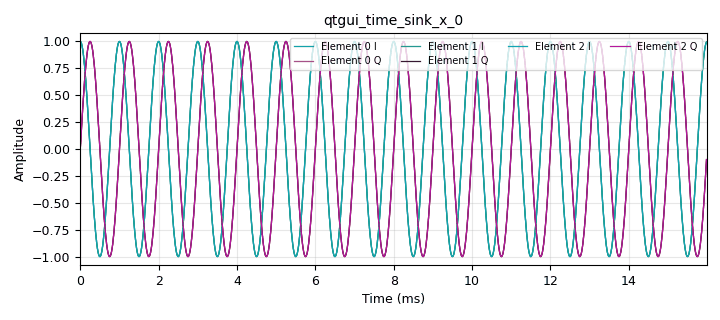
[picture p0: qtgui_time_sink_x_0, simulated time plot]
options:
  parameters:
    author: bimapancara
    generate_options: qt_gui
    id: NoisySimulation
    output_language: python
    title: Not titled yet
  states: {}

blocks:
- name: Noise
  id: variable_qtgui_range
  parameters:
    label: noise
    start: '0'
    step: '0.1'
    stop: '5'
    value: '0'
  states: {}
- name: array_space
  id: variable
  parameters:
    value: 0.5*wavelength
  states: {}
- name: c
  id: variable
  parameters:
    value: 3e8
  states: {}
- name: freq
  id: variable
  parameters:
    value: 2.4e9
  states: {}
- name: incident_wave
  id: variable_qtgui_range
  parameters:
    label: Angle of Incident
    start: '-90'
    step: '5'
    stop: '90'
    value: '0'
  states: {}
- name: phi0
  id: variable
  parameters:
    value: 0 * ((360 * array_space / wavelength) * np.sin(np.deg2rad(incident_wave)))
  states: {}
- name: phi1
  id: variable
  parameters:
    value: 1 * ((360 * array_space / wavelength) * np.sin(np.deg2rad(incident_wave)))
  states: {}
- name: phi2
  id: variable
  parameters:
    value: 2 * ((360 * array_space / wavelength) * np.sin(np.deg2rad(incident_wave)))
  states: {}
- name: samp_rate
  id: variable
  parameters:
    value: 64e3
  states: {}
- name: wavelength
  id: variable
  parameters:
    value: c/freq
  states: {}
- name: analog_noise_source_x_0
  id: analog_noise_source_x
  parameters:
    amp: Noise
    noise_type: analog.GR_GAUSSIAN
    seed: '0'
    type: complex
  states: {}
- name: analog_noise_source_x_0_0
  id: analog_noise_source_x
  parameters:
    amp: Noise
    noise_type: analog.GR_GAUSSIAN
    seed: '0'
    type: complex
  states: {}
- name: analog_noise_source_x_0_0_0
  id: analog_noise_source_x
  parameters:
    amp: Noise
    noise_type: analog.GR_GAUSSIAN
    seed: '0'
    type: complex
  states: {}
- name: analog_sig_source_x_0
  id: analog_sig_source_x
  parameters:
    amp: '1'
    freq: '1000'
    offset: '0'
    phase: '0'
    samp_rate: samp_rate
    type: complex
    waveform: analog.GR_COS_WAVE
  states: {}
- name: analog_sig_source_x_0_0
  id: analog_sig_source_x
  parameters:
    amp: '1'
    freq: '1000'
    offset: '0'
    phase: '0'
    samp_rate: samp_rate
    type: complex
    waveform: analog.GR_COS_WAVE
  states: {}
- name: analog_sig_source_x_0_0_0
  id: analog_sig_source_x
  parameters:
    amp: '1'
    freq: '1000'
    offset: '0'
    phase: '0'
    samp_rate: samp_rate
    type: complex
    waveform: analog.GR_COS_WAVE
  states: {}
- name: blocks_add_xx_0
  id: blocks_add_xx
  parameters:
    type: complex
  states: {}
- name: blocks_add_xx_0_0
  id: blocks_add_xx
  parameters:
    type: complex
  states: {}
- name: blocks_add_xx_0_1
  id: blocks_add_xx
  parameters:
    type: complex
  states: {}
- name: blocks_phase_shift_0
  id: blocks_phase_shift
  parameters:
    is_radians: 'False'
    shift: phi0
  states: {}
- name: blocks_phase_shift_0_0
  id: blocks_phase_shift
  parameters:
    is_radians: 'False'
    shift: phi1
  states: {}
- name: blocks_phase_shift_0_0_0
  id: blocks_phase_shift
  parameters:
    is_radians: 'False'
    shift: phi2
  states: {}
- name: blocks_throttle2_0
  id: blocks_throttle2
  parameters:
    samples_per_second: samp_rate
    type: complex
  states: {}
- name: blocks_throttle2_0_0
  id: blocks_throttle2
  parameters:
    samples_per_second: samp_rate
    type: complex
  states: {}
- name: blocks_throttle2_0_0_0
  id: blocks_throttle2
  parameters:
    samples_per_second: samp_rate
    type: complex
  states: {}
- name: import_0
  id: import
  parameters:
    imports: import numpy as np
  states: {}
- name: qtgui_time_sink_x_0
  id: qtgui_time_sink_x
  parameters:
    color2: green
    label1: Element 0 I
    label2: Element 0 Q
    label3: Element 1 I
    label4: Element 1 Q
    label5: Element 2 I
    label6: Element 2 Q
    nconnections: '3'
    size: '1024'
    srate: samp_rate
    type: complex
  states: {}
- name: zeromq_pub_sink_0
  id: zeromq_pub_sink
  parameters:
    address: tcp://127.0.0.1:49200
    timeout: '100'
    type: complex
  states: {}
- name: zeromq_pub_sink_1
  id: zeromq_pub_sink
  parameters:
    address: tcp://127.0.0.1:49202
    timeout: '100'
    type: complex
  states: {}
- name: zeromq_pub_sink_2
  id: zeromq_pub_sink
  parameters:
    address: tcp://127.0.0.1:49204
    timeout: '100'
    type: complex
  states: {}

connections:
- [analog_noise_source_x_0, '0', blocks_add_xx_0_0, '1']
- [analog_noise_source_x_0_0, '0', blocks_add_xx_0, '1']
- [analog_noise_source_x_0_0_0, '0', blocks_add_xx_0_1, '1']
- [analog_sig_source_x_0, '0', blocks_add_xx_0_0, '0']
- [analog_sig_source_x_0_0, '0', blocks_add_xx_0, '0']
- [analog_sig_source_x_0_0_0, '0', blocks_add_xx_0_1, '0']
- [blocks_add_xx_0, '0', blocks_phase_shift_0_0, '0']
- [blocks_add_xx_0_0, '0', blocks_phase_shift_0, '0']
- [blocks_add_xx_0_1, '0', blocks_phase_shift_0_0_0, '0']
- [blocks_phase_shift_0, '0', blocks_throttle2_0, '0']
- [blocks_phase_shift_0_0, '0', blocks_throttle2_0_0, '0']
- [blocks_phase_shift_0_0_0, '0', blocks_throttle2_0_0_0, '0']
- [blocks_throttle2_0, '0', qtgui_time_sink_x_0, '0']
- [blocks_throttle2_0, '0', zeromq_pub_sink_0, '0']
- [blocks_throttle2_0_0, '0', qtgui_time_sink_x_0, '1']
- [blocks_throttle2_0_0, '0', zeromq_pub_sink_1, '0']
- [blocks_throttle2_0_0_0, '0', qtgui_time_sink_x_0, '2']
- [blocks_throttle2_0_0_0, '0', zeromq_pub_sink_2, '0']

metadata:
  file_format: 1
  grc_version: 3.10.12.0
